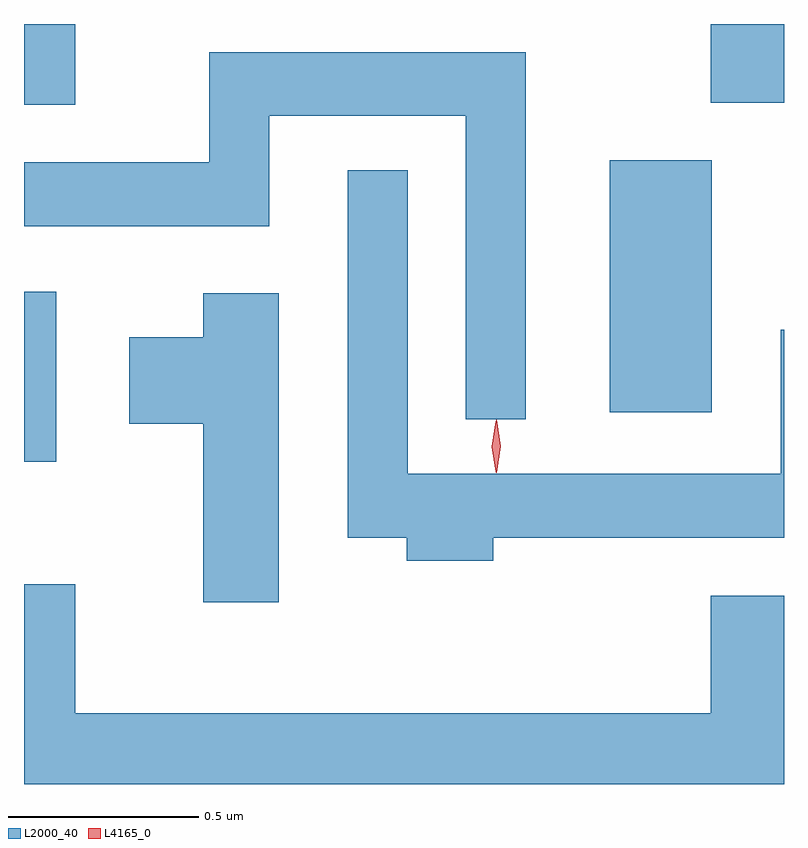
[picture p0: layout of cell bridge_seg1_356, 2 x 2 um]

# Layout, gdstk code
import gdstk
lib = gdstk.Library(unit=1e-6, precision=1e-09)
def R(c, l, rs):  # rectangles x0, y0, x1, y1
    for r in rs: c.add(gdstk.rectangle(r[:2], r[2:], *l))
def P(c, l, *ps):  # polygons
    for p in ps: c.add(gdstk.Polygon(p, *l))
L2000_40 = (2000, 40)
L4165_0 = (4165, 0)

bridge_seg1_356 = lib.new_cell('bridge_seg1_356')
R(bridge_seg1_356, L2000_40, [(935.954,882.746,936.039,883.194), (937.496,882.876,937.764,883.539), (935.954,883.686,936.089,883.898), (937.761,883.691,937.954,883.898)])
P(bridge_seg1_356, L2000_40, [(937.274,883.824),(936.441,883.824),(936.441,883.534),(935.954,883.534),(935.954,883.366),(936.599,883.366),(936.599,883.656),(937.116,883.656),(937.116,882.858),(937.274,882.858)],
  [(937.189,882.546),(937.954,882.546),(937.954,883.093),(937.946,883.093),(937.946,882.714),(936.964,882.714),(936.964,883.513),(936.806,883.513),(936.806,882.546),(936.961,882.546),(936.961,882.486),(937.189,882.486)],
  [(936.624,883.189),(936.426,883.189),(936.426,883.074),(936.231,883.074),(936.231,882.846),(936.426,882.846),(936.426,882.376),(936.624,882.376)],
  [(937.954,882.394),(937.761,882.394),(937.761,882.084),(936.089,882.084),(936.089,882.424),(935.954,882.424),(935.954,881.898),(937.954,881.898)])
P(bridge_seg1_356, L4165_0, [(937.197,882.717),(937.188,882.787),(937.197,882.856),(937.198,882.856),(937.198,882.856),(937.208,882.787),(937.198,882.717),(937.198,882.717)],
  [(937.195,882.719),(937.195,882.72),(937.185,882.786),(937.195,882.852),(937.195,882.853),(937.196,882.852),(937.205,882.786),(937.196,882.72)])

lib.write_gds('bridge_seg1_356.gds')
